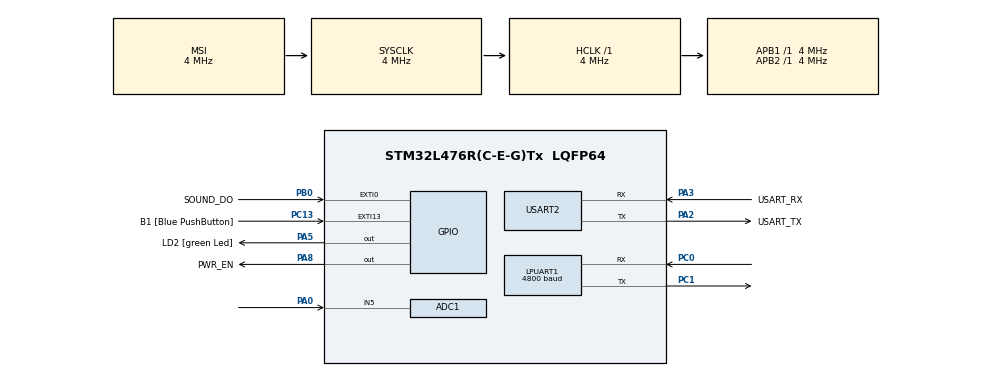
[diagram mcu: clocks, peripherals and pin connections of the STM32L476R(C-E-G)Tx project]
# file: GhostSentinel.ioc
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ADC1.Channel-0\#ChannelRegularConversion=ADC_CHANNEL_5
ADC1.ClockPrescaler=ADC_CLOCK_ASYNC_DIV1
ADC1.ExternalTrigConv=ADC_EXTERNALTRIG_T6_TRGO
ADC1.NbrOfConversionFlag=1
ADC1.OffsetNumber-0\#ChannelRegularConversion=ADC_OFFSET_NONE
ADC1.Overrun=ADC_OVR_DATA_OVERWRITTEN
ADC1.Rank-0\#ChannelRegularConversion=1
ADC1.SamplingTime-0\#ChannelRegularConversion=ADC_SAMPLETIME_47CYCLES_5
ADC1.master=1
Dma.ADC1.0.Direction=DMA_PERIPH_TO_MEMORY
Dma.ADC1.0.Instance=DMA1_Channel1
Dma.ADC1.0.MemDataAlignment=DMA_MDATAALIGN_HALFWORD
Dma.ADC1.0.MemInc=DMA_MINC_ENABLE
Dma.ADC1.0.Mode=DMA_NORMAL
Dma.ADC1.0.PeriphDataAlignment=DMA_PDATAALIGN_HALFWORD
Dma.ADC1.0.PeriphInc=DMA_PINC_DISABLE
Dma.ADC1.0.Priority=DMA_PRIORITY_LOW
Dma.Request0=ADC1
FREERTOS.Queues01=evtQueue,8,uint8_t,0,Dynamic,NULL,NULL
FREERTOS.Tasks01=SentinelTask,24,512,StartSentinelTask,Default,NULL,Dynamic,NULL,NULL
FREERTOS.Timers01=heartbeatTimer,HeartbeatCallback,osTimerPeriodic,Default,NULL,Dynamic,NULL
FREERTOS.configTOTAL_HEAP_SIZE=8192
LPTIM1.ClockPrescaler=LPTIM_PRESCALER_DIV16
LPUART1.BaudRate=4800
LPUART1.WordLength=UART_WORDLENGTH_8B
Mcu.Family=STM32L4
Mcu.Name=STM32L476R(C-E-G)Tx
Mcu.Package=LQFP64
NVIC.DMA1_Channel1_IRQn=true\:6\:0\:true\:false\:true\:true\:false\:true\:true
NVIC.EXTI0_IRQn=true\:6\:0\:true\:false\:true\:true\:true\:true\:true
NVIC.EXTI15_10_IRQn=true\:6\:0\:true\:false\:true\:true\:true\:true\:true
NVIC.LPTIM1_IRQn=true\:5\:0\:false\:false\:true\:true\:true\:true\:true
NVIC.LPUART1_IRQn=true\:6\:0\:true\:false\:true\:true\:true\:true\:true
NVIC.PriorityGroup=NVIC_PRIORITYGROUP_4
NVIC.TIM7_IRQn=true\:15\:0\:false\:false\:true\:false\:false\:true\:true
NVIC.TimeBase=TIM7_IRQn
NVIC.TimeBaseIP=TIM7
PA0.Signal=ADCx_IN5
PA13\ (JTMS-SWDIO).GPIO_Label=TMS
PA13\ (JTMS-SWDIO).Mode=Serial_Wire
PA13\ (JTMS-SWDIO).Signal=SYS_JTMS-SWDIO
PA14\ (JTCK-SWCLK).GPIO_Label=TCK
PA14\ (JTCK-SWCLK).Mode=Serial_Wire
PA14\ (JTCK-SWCLK).Signal=SYS_JTCK-SWCLK
PA2.GPIO_Label=USART_TX
PA2.GPIO_Mode=GPIO_MODE_AF_PP
PA2.GPIO_PuPd=GPIO_NOPULL
PA2.GPIO_Speed=GPIO_SPEED_FREQ_VERY_HIGH
PA2.Mode=Asynchronous
PA2.Signal=USART2_TX
PA3.GPIO_Label=USART_RX
PA3.GPIO_Mode=GPIO_MODE_AF_PP
PA3.GPIO_PuPd=GPIO_NOPULL
PA3.GPIO_Speed=GPIO_SPEED_FREQ_VERY_HIGH
PA3.Mode=Asynchronous
PA3.Signal=USART2_RX
PA5.GPIO_Label=LD2 [green Led]
PA5.GPIO_ModeDefaultOutputPP=GPIO_MODE_OUTPUT_PP
PA5.GPIO_PuPd=GPIO_NOPULL
PA5.GPIO_Speed=GPIO_SPEED_FREQ_LOW
PA5.Signal=GPIO_Output
PA8.GPIO_Label=PWR_EN
PA8.Signal=GPIO_Output
PB0.GPIO_Label=SOUND_DO
PB0.GPIO_ModeDefaultEXTI=GPIO_MODE_IT_RISING_FALLING
PB0.Signal=GPXTI0
PB3\ (JTDO-TRACESWO).GPIO_Label=SWO
PB3\ (JTDO-TRACESWO).Signal=SYS_JTDO-SWO
PC0.Mode=Asynchronous
PC0.Signal=LPUART1_RX
PC1.Mode=Asynchronous
PC1.Signal=LPUART1_TX
PC13.GPIO_Label=B1 [Blue PushButton]
PC13.GPIO_ModeDefaultEXTI=GPIO_MODE_IT_FALLING
PC13.GPIO_PuPd=GPIO_NOPULL
PC13.Signal=GPXTI13
PC14-OSC32_IN\ (PC14).Mode=LSE-External-Oscillator
PC14-OSC32_IN\ (PC14).Signal=RCC_OSC32_IN
PC15-OSC32_OUT\ (PC15).Mode=LSE-External-Oscillator
PC15-OSC32_OUT\ (PC15).Signal=RCC_OSC32_OUT
PH0-OSC_IN\ (PH0).Signal=RCC_OSC_IN
PH1-OSC_OUT\ (PH1).Signal=RCC_OSC_OUT
ProjectManager.HeapSize=0x200
ProjectManager.StackSize=0x400
ProjectManager.TargetToolchain=STM32CubeIDE
RCC.ADCCLockSelection=RCC_ADCCLKSOURCE_SYSCLK
RCC.ADCFreq_Value=4000000
RCC.AHBFreq_Value=4000000
RCC.APB1Freq_Value=4000000
RCC.APB1TimFreq_Value=4000000
RCC.APB2Freq_Value=4000000
RCC.APB2TimFreq_Value=4000000
RCC.CortexFreq_Value=4000000
RCC.HCLKFreq_Value=4000000
RCC.HSE_VALUE=8000000
RCC.HSI_VALUE=16000000
RCC.LPTIM1CLockSelection=RCC_LPTIM1CLKSOURCE_LSE
RCC.LPUART1CLockSelection=RCC_LPUART1CLKSOURCE_LSE
RCC.MSI_VALUE=4000000
RCC.PLLN=16
RCC.PREFETCH_ENABLE=1
RCC.PWR_Regulator_Voltage_Scale=PWR_REGULATOR_VOLTAGE_SCALE2
RCC.SYSCLKFreq_VALUE=4000000
RCC.USBFreq_Value=16000000
RCC.VCOOutputFreq_Value=64000000
SH.ADCx_IN5.0=ADC1_IN5,IN5-Single-Ended
TIM6.Period=499
TIM6.TIM_MasterOutputTrigger=TIM_TRGO_UPDATE
USART2.VirtualMode-Asynchronous=VM_ASYNC
VP_FREERTOS_VS_CMSIS_V2.Mode=CMSIS_V2
VP_LPTIM1_VS_LPTIM_counterModeInternalClock.Mode=Counts__internal_clock_event_00
VP_SYS_VS_tim7.Mode=TIM7
VP_TIM6_VS_ClockSourceINT.Mode=Enable_Timer
board=NUCLEO-L476RG

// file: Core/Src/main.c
/* USER CODE BEGIN Header */
/**
  ******************************************************************************
  * @file           : main.c
  * @brief          : Main program body
  ******************************************************************************
  * @attention
  *
  * Copyright (c) 2026 STMicroelectronics.
  * All rights reserved.
  *
  * This software is licensed under terms that can be found in the LICENSE file
  * in the root directory of this software component.
  * If no LICENSE file comes with this software, it is provided AS-IS.
  *
  ******************************************************************************
  */
/* USER CODE END Header */
#include "main.h"
#include "cmsis_os.h"

/* USER CODE BEGIN Includes */
#include <stdio.h>
#include <string.h>
#include <math.h>
/* USER CODE END Includes */

/* USER CODE BEGIN PD */
#define EVT_SOUND      1
#define EVT_BUTTON     2
#define EVT_HEARTBEAT  3
#define EVT_LORA       4
#define SND_N          1024     /* 1024 samples / 8 kHz = 128 ms window */
/* USER CODE END PD */

ADC_HandleTypeDef hadc1;
DMA_HandleTypeDef hdma_adc1;

LPTIM_HandleTypeDef hlptim1;

UART_HandleTypeDef hlpuart1;
UART_HandleTypeDef huart2;

TIM_HandleTypeDef htim6;

/* Definitions for SentinelTask */
osThreadId_t SentinelTaskHandle;
const osThreadAttr_t SentinelTask_attributes = {
  .name = "SentinelTask",
  .stack_size = 512 * 4,
  .priority = (osPriority_t) osPriorityNormal,
};
/* Definitions for evtQueue */
osMessageQueueId_t evtQueueHandle;
const osMessageQueueAttr_t evtQueue_attributes = {
  .name = "evtQueue"
};
/* Definitions for heartbeatTimer */
osTimerId_t heartbeatTimerHandle;
const osTimerAttr_t heartbeatTimer_attributes = {
  .name = "heartbeatTimer"
};
/* USER CODE BEGIN PV */
uint32_t sound_count  = 0;
uint32_t button_count = 0;
uint32_t lora_count   = 0;
uint32_t false_alarm_count = 0;

/* Tickless statistics and Stop 2 lock (defined in tickless_lptim.c) */
extern volatile uint32_t tl_stop2_count, tl_timer_wakeups, tl_event_wakeups, tl_sleep_ms;
extern volatile uint8_t  tl_stop_lock;
extern volatile uint32_t tl_hold_until;

extern volatile uint32_t tl_dbg_busy, tl_dbg_hold, tl_dbg_lock;

/* LoRa receive (LPUART1, byte by byte) */
volatile uint32_t lora_byte_count  = 0;
volatile uint32_t lora_error_count = 0;
uint8_t  lora_rx_byte;          /* HAL writes each received byte here       */
char     lora_buf[64];          /* incoming line is assembled here          */
uint8_t  lora_len = 0;
char     lora_msg[64];          /* completed line, copied for the task      */

/* Sound samples (ADC1 via DMA) */
uint16_t snd_buf[SND_N];
/* USER CODE END PV */

void SystemClock_Config(void);
static void MX_GPIO_Init(void);
static void MX_DMA_Init(void);
static void MX_USART2_UART_Init(void);
static void MX_LPTIM1_Init(void);
static void MX_LPUART1_UART_Init(void);
static void MX_ADC1_Init(void);
static void MX_TIM6_Init(void);
void StartSentinelTask(void *argument);
void HeartbeatCallback(void *argument);

/* USER CODE BEGIN PFP */
void tickless_lptim_init(void);
/* USER CODE END PFP */

/* USER CODE BEGIN 0 */
/* Redirect printf() to USART2 -> ST-LINK virtual COM port */
int __io_putchar(int ch)
{
    HAL_UART_Transmit(&huart2, (uint8_t *)&ch, 1, HAL_MAX_DELAY);
    return ch;
}

/* EXTI callback: do no work in the ISR, just post an event to the queue
 * (timeout 0 = never block inside an interrupt). */
void HAL_GPIO_EXTI_Callback(uint16_t GPIO_Pin)
{
    uint8_t evt;
    if (GPIO_Pin == SOUND_DO_Pin) {
        HAL_NVIC_DisableIRQ(EXTI0_IRQn);   /* comparator chatter lockout */
        evt = EVT_SOUND;
    } else if (GPIO_Pin == B1_Pin) {
        evt = EVT_BUTTON;
    } else {
        return;
    }
    osMessageQueuePut(evtQueueHandle, &evt, 0, 0);
}

/* Main power: PA8 -> IRLZ44N -> load (LED). LD2 mirrors the state.
 * Turned ON by a wake event, stays ON until a "sleep" feedback
 * (LoRa command or button) or the safety timeout. */
#define POWER_MAX_MS   (10UL * 60UL * 1000UL)   /* safety: auto-off after 10 min */

static uint8_t  main_power_on    = 0;   /* current state: 1 = ON */
static uint32_t main_power_since = 0;   /* tick when power was turned ON */

static void main_power_set(uint8_t on, const char *reason)
{
    if (on == main_power_on) {
        printf("         main power already %s (%s)\r\n", on ? "ON" : "OFF", reason);
        return;
    }
    main_power_on = on;
    HAL_GPIO_WritePin(PWR_EN_GPIO_Port, PWR_EN_Pin, on ? GPIO_PIN_SET : GPIO_PIN_RESET);
    HAL_GPIO_WritePin(LD2_GPIO_Port,    LD2_Pin,    on ? GPIO_PIN_SET : GPIO_PIN_RESET);

    if (on) {
        main_power_since = osKernelGetTickCount();
        printf("         MAIN POWER: ON  (%s)\r\n", reason);
    } else {
        printf("         MAIN POWER: OFF (%s, was on for %lu ms)\r\n",
               reason, osKernelGetTickCount() - main_power_since);
    }
}

void HAL_UARTEx_WakeupCallback(UART_HandleTypeDef *huart)
{
  if (huart->Instance == LPUART1) {
    /* LoRa traffic started: stay out of Stop 2 until the whole message is in */
    tl_hold_until = osKernelGetTickCount() + 200;
  }
}

/* Called for every byte received on LPUART1.
 * In Stop 2 the start bit of the first byte wakes the MCU. */
void HAL_UART_RxCpltCallback(UART_HandleTypeDef *huart)
{
    if (huart->Instance == LPUART1) {
        lora_byte_count++;
        tl_hold_until = osKernelGetTickCount() + 200;   /* extend the 200 ms RX window, no Stop 2 */
        char c = (char)lora_rx_byte;
        if (c == '\n') {                                    /* end of line */
            lora_buf[lora_len] = '\0';
            memcpy(lora_msg, lora_buf, lora_len + 1);
            lora_len = 0;
            uint8_t evt = EVT_LORA;
            osMessageQueuePut(evtQueueHandle, &evt, 0, 0);
        } else if (c != '\r' && lora_len < sizeof(lora_buf) - 1) {
            lora_buf[lora_len++] = c;
        }
        HAL_UART_Receive_IT(&hlpuart1, &lora_rx_byte, 1);   /* arm for next byte */
    }
}

/* LPUART error flags (noise/framing): with a 32.768 kHz LSE kernel clock at
 * 9600 baud there are only ~3.4 clocks per bit, so these flags are raised
 * often although the byte itself is usually correct.
 * Do NOT clear the line buffer; only re-arm reception if it was stopped. */
void HAL_UART_ErrorCallback(UART_HandleTypeDef *huart)
{
    if (huart->Instance == LPUART1) {
        lora_error_count++;
        if (huart->RxState == HAL_UART_STATE_READY) {
            HAL_UART_Receive_IT(&hlpuart1, &lora_rx_byte, 1);
        }
    }
}

/* DMA finished the 1024-sample buffer: wake the task */
void HAL_ADC_ConvCpltCallback(ADC_HandleTypeDef *hadc)
{
    if (hadc->Instance == ADC1) {
        osThreadFlagsSet(SentinelTaskHandle, 0x01);
    }
}

/* ---- Sound classification: decision tree ---- */
typedef enum { SND_CLAP, SND_KNOCK, SND_MOTOR, SND_OTHER, SND_ERROR } sound_class_t;
static const char *class_name[] = { "CLAP", "KNOCK", "MOTOR", "OTHER", "ERROR" };

#define CREST_IMPULSE_X10  27   /* crest >= 2.7 -> impulsive sound (clap/knock)     */
#define CREST_MOTOR_X10    25   /* crest <= 2.5 -> sustained sound                  */
#define HF_CLAP            50   /* impulsive + HF >= 50 % -> clap, otherwise knock  */
#define HF_MOTOR           50   /* sustained + HF >= 50 % -> motor (speech is low)  */

/* Goertzel algorithm: power of a single frequency component
 * (equivalent to one DFT bin, computed with a 2nd-order resonator). */
static float goertzel(const uint16_t *x, int32_t mean, float f)
{
    float k = 2.0f * cosf(2.0f * 3.14159265f * f / 8000.0f);   /* fs = 8 kHz */
    float s1 = 0.0f, s2 = 0.0f;
    for (uint32_t i = 0; i < SND_N; i++) {
        float s0 = (float)((int32_t)x[i] - mean) + k * s1 - s2;
        s2 = s1;
        s1 = s0;
    }
    return s1 * s1 + s2 * s2 - k * s1 * s2;
}

/* Sample the sensor's analog output for 128 ms, extract features, classify */
static sound_class_t sound_measure_classify(void)
{
    /* ---- 1. Sample (Stop 2 locked: ADC + DMA do not run in Stop 2) ---- */

    osThreadFlagsClear(0x01);
    tl_stop_lock = 1;
    HAL_ADC_Start_DMA(&hadc1, (uint32_t *)snd_buf, SND_N);
    HAL_TIM_Base_Start(&htim6);
    uint32_t r = osThreadFlagsWait(0x01, osFlagsWaitAny, 500);
    HAL_TIM_Base_Stop(&htim6);
    HAL_ADC_Stop_DMA(&hadc1);
    tl_stop_lock = 0;

    if (r & osFlagsError) {
        printf("         sound: sampling ERROR\r\n");
        return SND_ERROR;
    }

    /* ---- 2. Feature extraction (duration measured with DWT) ---- */
    uint32_t c0 = DWT->CYCCNT;

    uint32_t sum = 0;
    uint16_t mn = 4095, mx = 0;
    for (uint32_t i = 0; i < SND_N; i++) {
        sum += snd_buf[i];
        if (snd_buf[i] < mn) mn = snd_buf[i];
        if (snd_buf[i] > mx) mx = snd_buf[i];
    }
    int32_t mean = (int32_t)(sum / SND_N);             /* DC offset */

    float energy = 0.0f;
    float block[16] = {0};                             /* envelope: 16 blocks x 8 ms */
    for (uint32_t i = 0; i < SND_N; i++) {
        float v = (float)((int32_t)snd_buf[i] - mean);
        energy += v * v;
        block[i / (SND_N / 16)] += v * v;
    }
    float bmax = 0.0f, bsum = 0.0f;
    for (int b = 0; b < 16; b++) {
        bsum += block[b];
        if (block[b] > bmax) bmax = block[b];
    }

    /* Frequency scan: 100..3000 Hz in 100 Hz steps */
    float pmax = 0.0f, p_low = 0.0f, p_high = 0.0f;
    uint32_t f_dom = 0;
    for (uint32_t f = 100; f <= 3000; f += 100) {
        float p = goertzel(snd_buf, mean, (float)f);
        if (p > pmax) { pmax = p; f_dom = f; }
        if (f < 1000) p_low += p; else p_high += p;
    }

    uint32_t rms_mv = (uint32_t)(sqrtf(energy / SND_N) * 3300.0f / 4095.0f);
    uint32_t pp_mv  = (uint32_t)(mx - mn) * 3300U / 4095U;
    uint32_t crest  = (bsum > 0.0f) ? (uint32_t)(10.0f * bmax / (bsum / 16.0f)) : 0;  /* x10 */
    uint32_t hf_pct = (uint32_t)(100.0f * p_high / (p_low + p_high + 1.0f));
    uint32_t cycles = DWT->CYCCNT - c0;

    printf("         sound: rms=%lu mV  pp=%lu mV  crest=%lu.%lu  f_dom=%lu Hz  hf=%lu%%  analysis=%lu cycles (%lu us)\r\n",
           rms_mv, pp_mv, crest / 10, crest % 10, f_dom, hf_pct, cycles, cycles / 4);

    /* ---- 3. Decision tree ---- */
    sound_class_t s;
    if (crest >= CREST_IMPULSE_X10)                         s = (hf_pct >= HF_CLAP) ? SND_CLAP : SND_KNOCK;
    else if (crest <= CREST_MOTOR_X10 && hf_pct >= HF_MOTOR) s = SND_MOTOR;
    else                                                    s = SND_OTHER;
    printf("         decision: %s\r\n", class_name[s]);
    return s;
}

/* USER CODE END 0 */

int main(void)
{

  /* MCU Configuration--------------------------------------------------------*/

  /* Reset of all peripherals, Initializes the Flash interface and the Systick. */
  HAL_Init();

  /* Configure the system clock */
  SystemClock_Config();

  /* Initialize all configured peripherals */
  MX_GPIO_Init();
  MX_DMA_Init();
  MX_USART2_UART_Init();
  MX_LPTIM1_Init();
  MX_LPUART1_UART_Init();
  MX_ADC1_Init();
  MX_TIM6_Init();
  /* USER CODE BEGIN 2 */

  HAL_DBGMCU_DisableDBGStopMode();                            /* no debug clocks in Stop */
  __HAL_RCC_WAKEUPSTOP_CLK_CONFIG(RCC_STOP_WAKEUPCLOCK_MSI);  /* wake up on MSI 4 MHz    */
  tickless_lptim_init();

  /* LPUART1: keep running in Stop mode and wake up on START BIT
   * (method recommended by ST). Kernel clock must be LSE. */
  UART_WakeUpTypeDef wk = {0};
  wk.WakeUpEvent = UART_WAKEUP_ON_STARTBIT;
  HAL_UARTEx_StopModeWakeUpSourceConfig(&hlpuart1, wk);
  __HAL_UART_ENABLE_IT(&hlpuart1, UART_IT_WUF);              /* wake-up interrupt      */
  HAL_UARTEx_EnableStopMode(&hlpuart1);
  EXTI->IMR1 |= EXTI_IMR1_IM31;                               /* LPUART1 wake-up line   */
  HAL_StatusTypeDef rx_status = HAL_UART_Receive_IT(&hlpuart1, &lora_rx_byte, 1);

  printf("\r\n=== GHOST SENTINEL LITE - FreeRTOS tickless + LPTIM ===\r\n");
  printf("LPUART1 RX started: %s\r\n", (rx_status == HAL_OK) ? "OK" : "ERROR");
  printf("LPUART1 clock source: %s\r\n",
         (__HAL_RCC_GET_LPUART1_SOURCE() == RCC_LPUART1CLKSOURCE_LSE) ? "LSE (ok)" : "NOT LSE!");

  HAL_ADCEx_Calibration_Start(&hadc1, ADC_SINGLE_ENDED);

  /* DWT cycle counter: used to measure the analysis time */
  CoreDebug->DEMCR |= CoreDebug_DEMCR_TRCENA_Msk;
  DWT->CYCCNT = 0;
  DWT->CTRL |= DWT_CTRL_CYCCNTENA_Msk;

  /* USER CODE END 2 */

  /* Init scheduler */
  osKernelInitialize();

  /* Create the timer(s) */
  /* creation of heartbeatTimer */
  heartbeatTimerHandle = osTimerNew(HeartbeatCallback, osTimerPeriodic, NULL, &heartbeatTimer_attributes);

  /* Create the queue(s) */
  /* creation of evtQueue */
  evtQueueHandle = osMessageQueueNew (8, sizeof(uint8_t), &evtQueue_attributes);

  /* Create the thread(s) */
  /* creation of SentinelTask */
  SentinelTaskHandle = osThreadNew(StartSentinelTask, NULL, &SentinelTask_attributes);

  /* Start scheduler */
  osKernelStart();

  /* We should never get here as control is now taken by the scheduler */

  /* Infinite loop */
  while (1)
  {

  }
}

void SystemClock_Config(void)
{
  RCC_OscInitTypeDef RCC_OscInitStruct = {0};
  RCC_ClkInitTypeDef RCC_ClkInitStruct = {0};

  /** Configure the main internal regulator output voltage
  */
  if (HAL_PWREx_ControlVoltageScaling(PWR_REGULATOR_VOLTAGE_SCALE2) != HAL_OK)
  {
    Error_Handler();
  }

  /** Configure LSE Drive Capability
  */
  HAL_PWR_EnableBkUpAccess();
  __HAL_RCC_LSEDRIVE_CONFIG(RCC_LSEDRIVE_LOW);

  /** Initializes the RCC Oscillators according to the specified parameters
  * in the RCC_OscInitTypeDef structure.
  */
  RCC_OscInitStruct.OscillatorType = RCC_OSCILLATORTYPE_LSE|RCC_OSCILLATORTYPE_MSI;
  RCC_OscInitStruct.LSEState = RCC_LSE_ON;
  RCC_OscInitStruct.MSIState = RCC_MSI_ON;
  RCC_OscInitStruct.MSICalibrationValue = 0;
  RCC_OscInitStruct.MSIClockRange = RCC_MSIRANGE_6;
  RCC_OscInitStruct.PLL.PLLState = RCC_PLL_NONE;
  if (HAL_RCC_OscConfig(&RCC_OscInitStruct) != HAL_OK)
  {
    Error_Handler();
  }

  /** Initializes the CPU, AHB and APB buses clocks
  */
  RCC_ClkInitStruct.ClockType = RCC_CLOCKTYPE_HCLK|RCC_CLOCKTYPE_SYSCLK
                              |RCC_CLOCKTYPE_PCLK1|RCC_CLOCKTYPE_PCLK2;
  RCC_ClkInitStruct.SYSCLKSource = RCC_SYSCLKSOURCE_MSI;
  RCC_ClkInitStruct.AHBCLKDivider = RCC_SYSCLK_DIV1;
  RCC_ClkInitStruct.APB1CLKDivider = RCC_HCLK_DIV1;
  RCC_ClkInitStruct.APB2CLKDivider = RCC_HCLK_DIV1;

  if (HAL_RCC_ClockConfig(&RCC_ClkInitStruct, FLASH_LATENCY_0) != HAL_OK)
  {
    Error_Handler();
  }

  /** Enable MSI Auto calibration
  */
  HAL_RCCEx_EnableMSIPLLMode();
}

static void MX_ADC1_Init(void)
{

  ADC_MultiModeTypeDef multimode = {0};
  ADC_ChannelConfTypeDef sConfig = {0};

  /** Common config
  */
  hadc1.Instance = ADC1;
  hadc1.Init.ClockPrescaler = ADC_CLOCK_ASYNC_DIV1;
  hadc1.Init.Resolution = ADC_RESOLUTION_12B;
  hadc1.Init.DataAlign = ADC_DATAALIGN_RIGHT;
  hadc1.Init.ScanConvMode = ADC_SCAN_DISABLE;
  hadc1.Init.EOCSelection = ADC_EOC_SINGLE_CONV;
  hadc1.Init.LowPowerAutoWait = DISABLE;
  hadc1.Init.ContinuousConvMode = DISABLE;
  hadc1.Init.NbrOfConversion = 1;
  hadc1.Init.DiscontinuousConvMode = DISABLE;
  hadc1.Init.ExternalTrigConv = ADC_EXTERNALTRIG_T6_TRGO;
  hadc1.Init.ExternalTrigConvEdge = ADC_EXTERNALTRIGCONVEDGE_RISING;
  hadc1.Init.DMAContinuousRequests = DISABLE;
  hadc1.Init.Overrun = ADC_OVR_DATA_OVERWRITTEN;
  hadc1.Init.OversamplingMode = DISABLE;
  if (HAL_ADC_Init(&hadc1) != HAL_OK)
  {
    Error_Handler();
  }

  /** Configure the ADC multi-mode
  */
  multimode.Mode = ADC_MODE_INDEPENDENT;
  if (HAL_ADCEx_MultiModeConfigChannel(&hadc1, &multimode) != HAL_OK)
  {
    Error_Handler();
  }

  /** Configure Regular Channel
  */
  sConfig.Channel = ADC_CHANNEL_5;
  sConfig.Rank = ADC_REGULAR_RANK_1;
  sConfig.SamplingTime = ADC_SAMPLETIME_47CYCLES_5;
  sConfig.SingleDiff = ADC_SINGLE_ENDED;
  sConfig.OffsetNumber = ADC_OFFSET_NONE;
  sConfig.Offset = 0;
  if (HAL_ADC_ConfigChannel(&hadc1, &sConfig) != HAL_OK)
  {
    Error_Handler();
  }

}

static void MX_LPTIM1_Init(void)
{

  hlptim1.Instance = LPTIM1;
  hlptim1.Init.Clock.Source = LPTIM_CLOCKSOURCE_APBCLOCK_LPOSC;
  hlptim1.Init.Clock.Prescaler = LPTIM_PRESCALER_DIV16;
  hlptim1.Init.Trigger.Source = LPTIM_TRIGSOURCE_SOFTWARE;
  hlptim1.Init.OutputPolarity = LPTIM_OUTPUTPOLARITY_HIGH;
  hlptim1.Init.UpdateMode = LPTIM_UPDATE_IMMEDIATE;
  hlptim1.Init.CounterSource = LPTIM_COUNTERSOURCE_INTERNAL;
  hlptim1.Init.Input1Source = LPTIM_INPUT1SOURCE_GPIO;
  hlptim1.Init.Input2Source = LPTIM_INPUT2SOURCE_GPIO;
  if (HAL_LPTIM_Init(&hlptim1) != HAL_OK)
  {
    Error_Handler();
  }

}

static void MX_LPUART1_UART_Init(void)
{

  hlpuart1.Instance = LPUART1;
  hlpuart1.Init.BaudRate = 4800;
  hlpuart1.Init.WordLength = UART_WORDLENGTH_8B;
  hlpuart1.Init.StopBits = UART_STOPBITS_1;
  hlpuart1.Init.Parity = UART_PARITY_NONE;
  hlpuart1.Init.Mode = UART_MODE_TX_RX;
  hlpuart1.Init.HwFlowCtl = UART_HWCONTROL_NONE;
  hlpuart1.Init.OneBitSampling = UART_ONE_BIT_SAMPLE_DISABLE;
  hlpuart1.AdvancedInit.AdvFeatureInit = UART_ADVFEATURE_NO_INIT;
  if (HAL_UART_Init(&hlpuart1) != HAL_OK)
  {
    Error_Handler();
  }

}

static void MX_USART2_UART_Init(void)
{

  huart2.Instance = USART2;
  huart2.Init.BaudRate = 115200;
  huart2.Init.WordLength = UART_WORDLENGTH_8B;
  huart2.Init.StopBits = UART_STOPBITS_1;
  huart2.Init.Parity = UART_PARITY_NONE;
  huart2.Init.Mode = UART_MODE_TX_RX;
  huart2.Init.HwFlowCtl = UART_HWCONTROL_NONE;
  huart2.Init.OverSampling = UART_OVERSAMPLING_16;
  huart2.Init.OneBitSampling = UART_ONE_BIT_SAMPLE_DISABLE;
  huart2.AdvancedInit.AdvFeatureInit = UART_ADVFEATURE_NO_INIT;
  if (HAL_UART_Init(&huart2) != HAL_OK)
  {
    Error_Handler();
  }

}

static void MX_TIM6_Init(void)
{

  TIM_MasterConfigTypeDef sMasterConfig = {0};

  htim6.Instance = TIM6;
  htim6.Init.Prescaler = 0;
  htim6.Init.CounterMode = TIM_COUNTERMODE_UP;
  htim6.Init.Period = 499;
  htim6.Init.AutoReloadPreload = TIM_AUTORELOAD_PRELOAD_DISABLE;
  if (HAL_TIM_Base_Init(&htim6) != HAL_OK)
  {
    Error_Handler();
  }
  sMasterConfig.MasterOutputTrigger = TIM_TRGO_UPDATE;
  sMasterConfig.MasterSlaveMode = TIM_MASTERSLAVEMODE_DISABLE;
  if (HAL_TIMEx_MasterConfigSynchronization(&htim6, &sMasterConfig) != HAL_OK)
  {
    Error_Handler();
  }

}

static void MX_DMA_Init(void)
{

  /* DMA controller clock enable */
  __HAL_RCC_DMA1_CLK_ENABLE();

  /* DMA interrupt init */
  /* DMA1_Channel1_IRQn interrupt configuration */
  HAL_NVIC_SetPriority(DMA1_Channel1_IRQn, 6, 0);
  HAL_NVIC_EnableIRQ(DMA1_Channel1_IRQn);

}

static void MX_GPIO_Init(void)
{
  GPIO_InitTypeDef GPIO_InitStruct = {0};

  /* GPIO Ports Clock Enable */
  __HAL_RCC_GPIOC_CLK_ENABLE();
  __HAL_RCC_GPIOH_CLK_ENABLE();
  __HAL_RCC_GPIOA_CLK_ENABLE();
  __HAL_RCC_GPIOB_CLK_ENABLE();
  __HAL_RCC_GPIOD_CLK_ENABLE();

  /*Configure GPIO pin Output Level */
  HAL_GPIO_WritePin(GPIOA, LD2_Pin|PWR_EN_Pin, GPIO_PIN_RESET);

  /*Configure GPIO pin : B1_Pin */
  GPIO_InitStruct.Pin = B1_Pin;
  GPIO_InitStruct.Mode = GPIO_MODE_IT_FALLING;
  GPIO_InitStruct.Pull = GPIO_NOPULL;
  HAL_GPIO_Init(B1_GPIO_Port, &GPIO_InitStruct);

  /*Configure GPIO pins : PC2 PC3 PC4 PC5
                           PC6 PC7 PC8 PC9
                           PC10 PC11 PC12 */
  GPIO_InitStruct.Pin = GPIO_PIN_2|GPIO_PIN_3|GPIO_PIN_4|GPIO_PIN_5
                          |GPIO_PIN_6|GPIO_PIN_7|GPIO_PIN_8|GPIO_PIN_9
                          |GPIO_PIN_10|GPIO_PIN_11|GPIO_PIN_12;
  GPIO_InitStruct.Mode = GPIO_MODE_ANALOG;
  GPIO_InitStruct.Pull = GPIO_NOPULL;
  HAL_GPIO_Init(GPIOC, &GPIO_InitStruct);

  /*Configure GPIO pins : PA1 PA4 PA6 PA7
                           PA9 PA10 PA11 PA12
                           PA15 */
  GPIO_InitStruct.Pin = GPIO_PIN_1|GPIO_PIN_4|GPIO_PIN_6|GPIO_PIN_7
                          |GPIO_PIN_9|GPIO_PIN_10|GPIO_PIN_11|GPIO_PIN_12
                          |GPIO_PIN_15;
  GPIO_InitStruct.Mode = GPIO_MODE_ANALOG;
  GPIO_InitStruct.Pull = GPIO_NOPULL;
  HAL_GPIO_Init(GPIOA, &GPIO_InitStruct);

  /*Configure GPIO pins : LD2_Pin PWR_EN_Pin */
  GPIO_InitStruct.Pin = LD2_Pin|PWR_EN_Pin;
  GPIO_InitStruct.Mode = GPIO_MODE_OUTPUT_PP;
  GPIO_InitStruct.Pull = GPIO_NOPULL;
  GPIO_InitStruct.Speed = GPIO_SPEED_FREQ_LOW;
  HAL_GPIO_Init(GPIOA, &GPIO_InitStruct);

  /*Configure GPIO pin : SOUND_DO_Pin */
  GPIO_InitStruct.Pin = SOUND_DO_Pin;
  GPIO_InitStruct.Mode = GPIO_MODE_IT_RISING_FALLING;
  GPIO_InitStruct.Pull = GPIO_NOPULL;
  HAL_GPIO_Init(SOUND_DO_GPIO_Port, &GPIO_InitStruct);

  /*Configure GPIO pins : PB1 PB2 PB10 PB11
                           PB12 PB13 PB14 PB15
                           PB4 PB5 PB6 PB7
                           PB8 PB9 */
  GPIO_InitStruct.Pin = GPIO_PIN_1|GPIO_PIN_2|GPIO_PIN_10|GPIO_PIN_11
                          |GPIO_PIN_12|GPIO_PIN_13|GPIO_PIN_14|GPIO_PIN_15
                          |GPIO_PIN_4|GPIO_PIN_5|GPIO_PIN_6|GPIO_PIN_7
                          |GPIO_PIN_8|GPIO_PIN_9;
  GPIO_InitStruct.Mode = GPIO_MODE_ANALOG;
  GPIO_InitStruct.Pull = GPIO_NOPULL;
  HAL_GPIO_Init(GPIOB, &GPIO_InitStruct);

  /*Configure GPIO pin : PD2 */
  GPIO_InitStruct.Pin = GPIO_PIN_2;
  GPIO_InitStruct.Mode = GPIO_MODE_ANALOG;
  GPIO_InitStruct.Pull = GPIO_NOPULL;
  HAL_GPIO_Init(GPIOD, &GPIO_InitStruct);

  /* EXTI interrupt init*/
  HAL_NVIC_SetPriority(EXTI0_IRQn, 6, 0);
  HAL_NVIC_EnableIRQ(EXTI0_IRQn);

  HAL_NVIC_SetPriority(EXTI15_10_IRQn, 6, 0);
  HAL_NVIC_EnableIRQ(EXTI15_10_IRQn);

}

void StartSentinelTask(void *argument)
{
  /* USER CODE BEGIN 5 */
	osTimerStart(heartbeatTimerHandle, 10000);     /* heartbeat every 10 s */
  printf("FreeRTOS running. Waiting for events...\r\n");

  uint8_t evt;
  for (;;)
  {
    /* Block until an event arrives -> idle task -> tickless -> Stop 2 */
    if (osMessageQueueGet(evtQueueHandle, &evt, NULL, osWaitForever) != osOK) continue;

    uint32_t t = osKernelGetTickCount();
    switch (evt)
    {
      case EVT_SOUND: {
        sound_count++;
        printf("[%6lu ms] WAKE reason=SOUND #%lu\r\n", t, sound_count);
        sound_class_t s = sound_measure_classify();
        if (s == SND_CLAP || s == SND_MOTOR) {
            main_power_set(1, "sound");
        } else {
            false_alarm_count++;
            printf("         main power NOT enabled -> false alarm #%lu, back to sleep\r\n",
                   false_alarm_count);
        }
        osDelay(500);                                   /* extra quiet time */
        __HAL_GPIO_EXTI_CLEAR_IT(SOUND_DO_Pin);         /* drop queued edges */
        HAL_NVIC_ClearPendingIRQ(EXTI0_IRQn);
        HAL_NVIC_EnableIRQ(EXTI0_IRQn);                 /* re-enable sound interrupt */
        break;
      }

      case EVT_BUTTON:
        /* Local feedback: the button toggles main power */
        button_count++;
        printf("[%6lu ms] BUTTON #%lu\r\n", t, button_count);
        main_power_set(!main_power_on, "button");
        break;

      case EVT_LORA:
        lora_count++;
        printf("[%6lu ms] LORA #%lu msg=\"%s\"\r\n", t, lora_count, lora_msg);
        /* check "sleep" first */
        if (strstr(lora_msg, "sleep") != NULL || strstr(lora_msg, "uyu") != NULL) {
            main_power_set(0, "lora sleep");
        } else if (strstr(lora_msg, "wake") != NULL || strstr(lora_msg, "uyan") != NULL) {
            main_power_set(1, "lora wake");
        } else {
            printf("         unknown command, ignored\r\n");
        }
        break;

      case EVT_HEARTBEAT:
        /* HAL_GetTick() only advances while awake -> "awake" = total awake time */
    	  /* Safety: never leave main power on forever */
    	  if (main_power_on && (t - main_power_since) >= POWER_MAX_MS) {
    	              main_power_set(0, "safety timeout");
    	          }

    	  printf("[%6lu ms] HEARTBEAT power=%s sound=%lu button=%lu lora=%lu | awake=%lu ms | "
                 "stop2=%lu (timer=%lu event=%lu) sleep=%lu ms | lora_bytes=%lu err=%lu\r\n",
                 t, main_power_on ? "ON" : "OFF", sound_count, button_count, lora_count, HAL_GetTick(),
                 tl_stop2_count, tl_timer_wakeups, tl_event_wakeups, tl_sleep_ms,
                 lora_byte_count, lora_error_count);
        printf("          dbg busy=%lu hold=%lu lock=%lu\r\n", tl_dbg_busy, tl_dbg_hold, tl_dbg_lock);
        break;

    }   /* end switch */
  }     /* end for */
  /* USER CODE END 5 */
}

/* HeartbeatCallback function */
void HeartbeatCallback(void *argument)
{
  /* USER CODE BEGIN HeartbeatCallback */
	  uint8_t evt = EVT_HEARTBEAT;
	  osMessageQueuePut(evtQueueHandle, &evt, 0, 0);
  /* USER CODE END HeartbeatCallback */
}

void HAL_TIM_PeriodElapsedCallback(TIM_HandleTypeDef *htim)
{
  if (htim->Instance == TIM7)
  {
    HAL_IncTick();
  }
}

void Error_Handler(void)
{
  __disable_irq();
  while (1)
  {
  }
}
